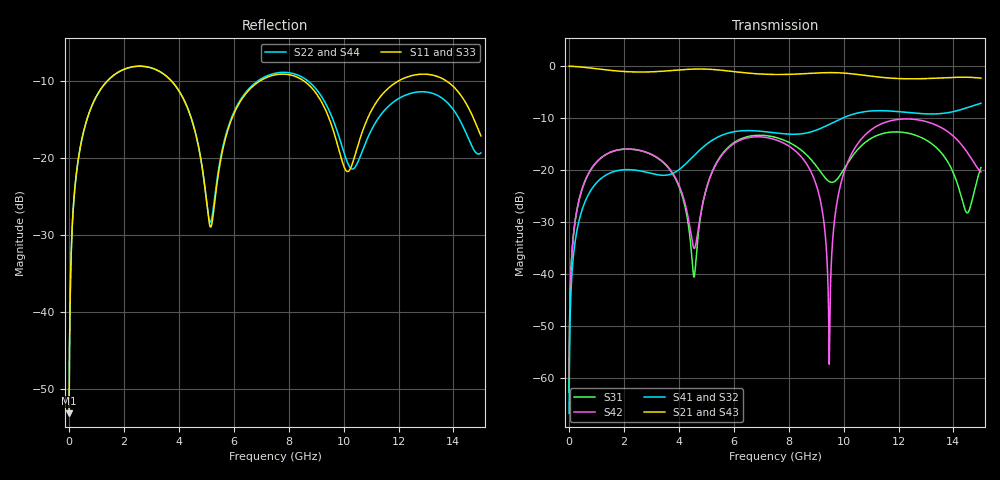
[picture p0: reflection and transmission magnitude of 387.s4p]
! Created with skrf 1.8.0 (http://scikit-rf.org).
# GHz S RI R 50.0
!freq ReS11 ImS11 ReS12 ImS12 ReS13 ImS13
! ReS14 ImS14
! ReS21 ImS21 ReS22 ImS22 ReS23 ImS23
! ReS24 ImS24
! ReS31 ImS31 ReS32 ImS32 ReS33 ImS33
! ReS34 ImS34
! ReS41 ImS41 ReS42 ImS42 ReS43 ImS43
! ReS44 ImS44
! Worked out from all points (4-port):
!   2499 points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, 5 MHz to 15 GHz, reference 50 ohm
!   strongest paths, dB at 5 MHz, 3.476 GHz, 7.19 GHz, 11.1 GHz, 15 GHz:
!     S21: 0.0, -1.0, -1.6, -2.0, -2.3
!     S43: 0.0, -1.0, -1.6, -2.0, -2.3
!     S41: -66.8, -21.0, -12.7, -8.6, -7.2
!     S32: -66.8, -21.0, -12.7, -8.6, -7.1
!     S42: -62.8, -18.7, -13.7, -11.9, -20.4
!     S31: -62.8, -18.8, -13.4, -13.6, -19.5
!   lowest |S11| = -53.2 dB at 5 MHz (marker M1), VSWR 1.00, Z = 50.2 + j0.132 ohm
!   |S11| at or under -10 dB: start of sweep to 1.411 GHz; 3.719 GHz to 6.978 GHz (3.259 GHz wide, 60.9 % of centre); 8.535 GHz to 12.02 GHz (3.49 GHz wide, 33.9 % of centre) (the widest 3 of 4)
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0.005  0.00174 0.00132  0.9982 -0.00339  8.88e-05 0.00072  -8.61e-05 -0.000447
       0.9982 -0.00339  0.00174 0.00132  -8.61e-05 -0.000447  8.89e-05 0.00072
       8.88e-05 0.00072  -8.61e-05 -0.000447  0.00174 0.00132  0.9982 -0.00339
       -8.61e-05 -0.000447  8.89e-05 0.00072  0.9982 -0.00339  0.00174 0.00132
1.469362  0.2717 0.1763  0.545 -0.7313  0.1318 0.0638  -0.0928 -0.00552
          0.545 -0.7313  0.2715 0.1764  -0.0927 -0.00559  0.1328 0.0624
          0.1318 0.0638  -0.0927 -0.00559  0.2717 0.1762  0.545 -0.7313
          -0.0928 -0.00552  0.1328 0.0624  0.545 -0.7313  0.2714 0.1764
4.551897  0.0824 -0.1344  -0.8415 -0.4093  -0.00888 -0.00284  -0.0561 0.1256
          -0.8415 -0.4093  0.084 -0.1323  -0.0567 0.1253  -0.0164 -0.00658
          -0.00888 -0.00284  -0.0567 0.1253  0.0833 -0.1335  -0.8416 -0.4092
          -0.0561 0.1256  -0.0164 -0.00658  -0.8416 -0.4092  0.0826 -0.1324
7.947061  0.3453 -0.0307  -0.0203 0.8315  0.1615 -0.0961  0.2118 -0.0664
          -0.0203 0.8315  0.3546 -0.0378  0.2112 -0.0635  0.1624 -0.0618
          0.1615 -0.0961  0.2112 -0.0635  0.3473 -0.0347  -0.0204 0.8309
          0.2118 -0.0664  0.1624 -0.0618  -0.0204 0.8309  0.3553 -0.0338
9.47895  0.1346 -0.1167  0.6712 0.5462  -0.0619 -0.0464  0.1659 -0.2193
         0.6712 0.5462  0.1444 -0.1399  0.169 -0.2169  -0.00132 -0.000285
         -0.0619 -0.0464  0.169 -0.2169  0.134 -0.1199  0.6705 0.5465
         0.1659 -0.2193  -0.00132 -0.000285  0.6705 0.5465  0.1473 -0.1395
10.89829  0.152 0.1028  0.7887 -0.1647  0.0465 0.188  -0.115 -0.3493
          0.7887 -0.1647  0.125 0.0554  -0.1111 -0.3498  0.1629 0.1651
          0.0465 0.188  -0.1111 -0.3498  0.1535 0.1017  0.789 -0.1641
          -0.115 -0.3493  0.1629 0.1651  0.789 -0.1641  0.1224 0.0541
15  0.1088 -0.0853  -0.6532 -0.3991  0.024 0.1028  -0.2182 0.3805
    -0.6532 -0.3991  0.1052 0.021  -0.2275 0.3758  -0.0943 -0.0177
    0.024 0.1028  -0.2275 0.3758  0.1014 -0.0905  -0.652 -0.4002
    -0.2182 0.3805  -0.0943 -0.0177  -0.652 -0.4002  0.1159 0.0259
